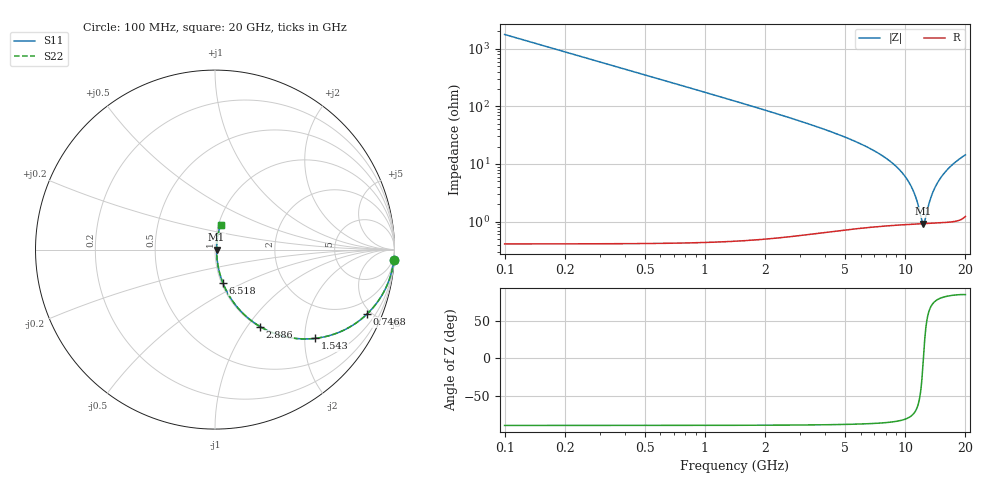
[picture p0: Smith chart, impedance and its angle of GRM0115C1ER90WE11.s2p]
!Murata Part Number: GRM0115C1ER90WE11
!These Parameters are Measured in Series Mode Connection
!Data Generated on Mar 30, 2021
!  o--ll--o
!Port1  Port2
!  o------o
!Operation Temp=25[degC], DC Bias Voltage=0[V]
!Freq. Start=100[MHz] Stop=20[GHz] 401[Steps]
# Hz S RI R 50
!Freq.(Hz) S11(Real) S11(Imag) S21(Real) S21(Imag) S12(Real) S12(Imag) S22(Real) S22(Imag)
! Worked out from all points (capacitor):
!   401 points, 100 MHz to 20 GHz, reference 50 ohm
!   read as one part in series: C = 900 fF near 199.5 MHz
!   lowest |Z| = 922 mohm at 12.34 GHz (marker M1)
!   series resonance near 12.34 GHz, so ESL is about 180 pH
!   S11 on the Smith chart (normalised r, x): 100 MHz: 1, -35; 746.8 MHz: 1.01, -4.72; 1.543 GHz: 1.01, -2.25; 2.886 GHz: 1.01, -1.15; 6.518 GHz: 1.02, -0.39; 20 GHz: 1.02, +0.29
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1e8  0.9968 -0.0564  0.0032 0.0564  0.0032 0.0564  0.9968 -0.0564
2.99e8  0.9721 -0.1644  0.0279 0.1644  0.0279 0.1644  0.9721 -0.1644
3.985e8  0.9514 -0.2146  0.0486 0.2146  0.0486 0.2146  0.9514 -0.2146
7.4675e8  0.8472 -0.3589  0.1528 0.3589  0.1528 0.3589  0.8472 -0.3589
1.095e9  0.7189 -0.4482  0.2811 0.4482  0.2811 0.4482  0.7189 -0.4482
1.54275e9  0.5592 -0.4944  0.4408 0.4944  0.4408 0.4944  0.5592 -0.4944
2.1895e9  0.3793 -0.482  0.6207 0.482  0.6207 0.482  0.3793 -0.482
2.886e9  0.252 -0.4293  0.748 0.4293  0.748 0.4293  0.252 -0.4293
3.43325e9  0.186 -0.3827  0.814 0.3827  0.814 0.3827  0.186 -0.3827
4.72675e9  0.0965 -0.2845  0.9035 0.2845  0.9035 0.2845  0.0965 -0.2845
6.51775e9  0.0433 -0.1841  0.9567 0.1841  0.9567 0.1841  0.0433 -0.1841
6.7665e9  0.039 -0.1727  0.961 0.1727  0.961 0.1727  0.039 -0.1727
8.70675e9  0.0184 -0.0983  0.9816 0.0983  0.9816 0.0983  0.0184 -0.0983
1.005e10  0.0121 -0.0574  0.9879 0.0574  0.9879 0.0574  0.0121 -0.0574
1.11445e10  0.00979 -0.0284  0.9902 0.0284  0.9902 0.0284  0.00979 -0.0284
1.21395e10  0.00913 -0.00457  0.9909 0.00457  0.9909 0.00457  0.00913 -0.00457
1.23385e10  0.00913 -3.94e-05  0.9909 3.94e-05  0.9909 3.94e-05  0.00913 -3.94e-05
1.25375e10  0.00918 0.00442  0.9908 -0.00442  0.9908 -0.00442  0.00918 0.00442
1.338325e10  0.00977 0.0226  0.9902 -0.0226  0.9902 -0.0226  0.00977 0.0226
1.467675e10  0.0118 0.0485  0.9882 -0.0485  0.9882 -0.0485  0.0118 0.0485
1.67165e10  0.0171 0.0854  0.9829 -0.0854  0.9829 -0.0854  0.0171 0.0854
2e10  0.0316 0.1373  0.9684 -0.1373  0.9684 -0.1373  0.0316 0.1373
